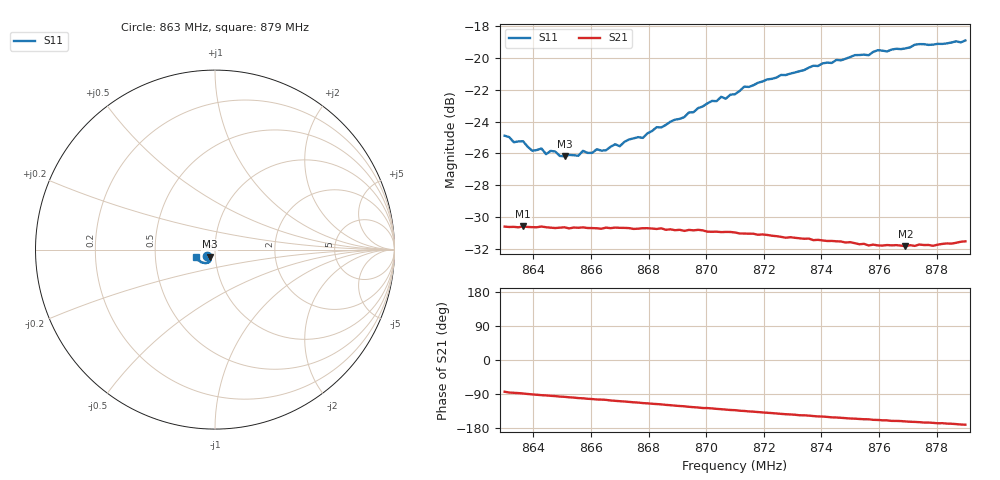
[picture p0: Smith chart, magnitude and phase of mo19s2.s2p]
# HZ S RI R 50
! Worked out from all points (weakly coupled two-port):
!   101 points, 863 MHz to 879 MHz, reference 50 ohm
!   highest |S21| = -30.59 dB at 863.64 MHz (marker M1); lowest = -31.8 dB at 876.92 MHz (marker M2)
!   lowest |S11| = -26.2 dB at 865.08 MHz (marker M3), VSWR 1.10, Z = 46.9 - j3.63 ohm
!   |S11| at or under -10 dB: start of sweep to end of sweep
!   S12 and S22 are empty: the file has one direction only
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8.63e8  -0.0436 -0.0367  0.00319 -0.0293  0 0  0 0
8.6332e8  -0.0413 -0.0353  0.00175 -0.0294  0 0  0 0
8.6364e8  -0.0406 -0.0367  0.000864 -0.0295  0 0  0 0
8.6396e8  -0.0362 -0.036  -0.00039 -0.0294  0 0  0 0
8.6428e8  -0.0354 -0.038  -0.00147 -0.0295  0 0  0 0
8.6444e8  -0.0341 -0.0364  -0.00177 -0.0293  0 0  0 0
8.646e8  -0.0341 -0.038  -0.00229 -0.0292  0 0  0 0
8.6508e8  -0.0304 -0.0385  -0.00369 -0.0291  0 0  0 0
8.6556e8  -0.0287 -0.0401  -0.00534 -0.0288  0 0  0 0
8.6572e8  -0.0279 -0.0428  -0.00564 -0.0288  0 0  0 0
8.6604e8  -0.0259 -0.0431  -0.00659 -0.0284  0 0  0 0
8.6684e8  -0.0251 -0.0473  -0.00893 -0.0279  0 0  0 0
8.67e8  -0.0243 -0.0469  -0.00938 -0.0277  0 0  0 0
8.6732e8  -0.0241 -0.0499  -0.0103 -0.0273  0 0  0 0
8.6844e8  -0.0242 -0.0554  -0.0133 -0.0259  0 0  0 0
8.702e8  -0.0295 -0.067  -0.0174 -0.0225  0 0  0 0
8.71e8  -0.0351 -0.0684  -0.0191 -0.0209  0 0  0 0
8.7132e8  -0.0374 -0.0721  -0.0196 -0.02  0 0  0 0
8.7372e8  -0.0566 -0.0756  -0.0227 -0.0142  0 0  0 0
8.7644e8  -0.0842 -0.0648  -0.0243 -0.00852  0 0  0 0
8.7692e8  -0.0877 -0.0615  -0.0244 -0.00785  0 0  0 0
8.79e8  -0.1048 -0.0435  -0.0262 -0.00427  0 0  0 0
